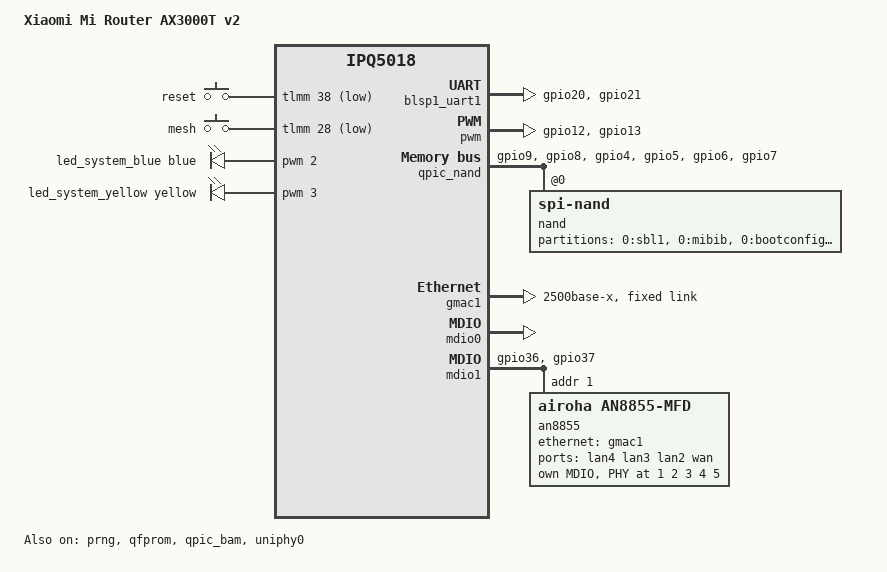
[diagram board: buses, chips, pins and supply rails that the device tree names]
// SPDX-License-Identifier: GPL-2.0-or-later OR MIT

/dts-v1/;

#include "ipq5018.dtsi"
#include "ipq5018-ess.dtsi"
#include "ipq5018-qcn6122.dtsi"

#include <dt-bindings/gpio/gpio.h>
#include <dt-bindings/input/input.h>
#include <dt-bindings/leds/common.h>

/ {
	model = "Xiaomi Mi Router AX3000T v2";
	compatible = "xiaomi,mi-router-ax3000t-v2", "qcom,ipq5018";

	aliases {
		label-mac-device = &lan2;
		led-boot = &led_system_blue;
		led-failsafe = &led_system_yellow;
		led-running = &led_system_blue;
		led-upgrade = &led_system_yellow;
		serial0 = &blsp1_uart1;
	};

	chosen {
		bootargs-append = " ubi.mtd=rootfs root=/dev/ubiblock0_0 coherent_pool=2M";
		stdout-path = "serial0:115200n8";
	};

	keys {
		compatible = "gpio-keys";

		pinctrl-0 = <&button_pins>;
		pinctrl-names = "default";

		reset-button {
			label = "reset";
			gpios = <&tlmm 38 GPIO_ACTIVE_LOW>;
			linux,code = <KEY_RESTART>;
		};

		wps-button {
			label = "mesh";
			gpios = <&tlmm 28 GPIO_ACTIVE_LOW>;
			linux,code = <KEY_WPS_BUTTON>;
		};
	};

	leds {
		compatible = "pwm-leds";

		led_system_blue: led-0 {
			color = <LED_COLOR_ID_BLUE>;
			function = LED_FUNCTION_POWER;
			pwms = <&pwm 2 50000>;
			max-brightness = <255>;
		};

		led_system_yellow: led-1 {
			color = <LED_COLOR_ID_YELLOW>;
			function = LED_FUNCTION_POWER;
			pwms = <&pwm 3 50000>;
			max-brightness = <255>;
		};
	};
};

&sleep_clk {
	clock-frequency = <32000>;
};

&xo_board_clk {
	clock-div = <4>;
	clock-mult = <1>;
};

&blsp1_uart1 {
	status = "okay";

	pinctrl-0 = <&serial_0_pins>;
	pinctrl-names = "default";
};

&prng {
	status = "okay";
};

&pwm {
	status = "okay";

	#pwm-cells = <2>;
	pinctrl-0 = <&pwm_pins>;
	pinctrl-names = "default";
};

&qfprom {
	status = "okay";
};

&qpic_bam {
	status = "okay";
};

&qpic_nand {
	pinctrl-0 = <&qpic_pins>;
	pinctrl-names = "default";
	status = "okay";

	nand@0 {
		compatible = "spi-nand";
		reg = <0>;

		nand-ecc-engine = <&qpic_nand>;
		nand-ecc-step-size = <512>;
		nand-ecc-strength = <4>;
		nand-bus-width = <8>;

		partitions {
			compatible = "fixed-partitions";
			#address-cells = <1>;
			#size-cells = <1>;

			partition@0 {
				label = "0:sbl1";
				reg = <0x00000000 0x80000>;
				read-only;
			};

			partition@80000 {
				label = "0:mibib";
				reg = <0x00080000 0x80000>;
				read-only;
			};

			partition@100000 {
				label = "0:bootconfig";
				reg = <0x00100000 0x40000>;
				read-only;
			};

			partition@140000 {
				label = "0:bootconfig1";
				reg = <0x00140000 0x40000>;
				read-only;
			};

			partition@180000 {
				label = "0:qsee";
				reg = <0x00180000 0x100000>;
				read-only;
			};

			partition@280000 {
				label = "0:qsee_1";
				reg = <0x00280000 0x100000>;
				read-only;
			};

			partition@380000 {
				label = "0:devcfg";
				reg = <0x00380000 0x40000>;
				read-only;
			};

			partition@3c0000 {
				label = "0:devcfg_1";
				reg = <0x003c0000 0x40000>;
				read-only;
			};

			partition@400000 {
				label = "0:cdt";
				reg = <0x00400000 0x40000>;
				read-only;
			};

			partition@440000 {
				label = "0:cdt_1";
				reg = <0x00440000 0x40000>;
				read-only;
			};

			partition@480000 {
				label = "0:appsblenv";
				reg = <0x00480000 0x80000>;
			};

			partition@500000 {
				label = "0:appsbl";
				reg = <0x00500000 0x140000>;
				read-only;
			};

			partition@640000 {
				label = "0:appsbl_1";
				reg = <0x00640000 0x140000>;
				read-only;
			};

			partition@780000 {
				label = "0:art";
				reg = <0x00780000 0x100000>;
				read-only;

				nvmem-layout {
					compatible = "fixed-layout";
					#address-cells = <1>;
					#size-cells = <1>;

					mac_addr_wan: macaddr@0 {
						reg = <0x0 0x6>;
					};

					mac_addr_lan: macaddr@6 {
						reg = <0x6 0x6>;
					};
				};
			};

			partition@880000 {
				label = "0:training";
				reg = <0x00880000 0x80000>;
				read-only;
			};

			partition@900000 {
				label = "bdata";
				reg = <0x00900000 0x80000>;
			};

			partition@980000 {
				label = "crash";
				reg = <0x00980000 0x80000>;
			};

			partition@a00000 {
				label = "crash_syslog";
				reg = <0x00a00000 0x80000>;
			};

			partition@a80000 {
				label = "ubi_kernel";
				reg = <0x00a80000 0x2400000>;
			};

			partition@2e80000 {
				label = "rootfs";
				reg = <0x02e80000 0x5180000>;
			};
		};
	};
};

/*
 * =================================================================
 *     _______________________             _______________________
 *    |        IPQ5018        |           |     Airoha AN8855     |
 *    | +------+   +--------+ |           | +--------+   +------+ |
 *    | | MAC0 |---| GE Phy |-+           | | Phy4   |---| MAC4 | |
 *    | +------+   +--------+ |           | +--------+   +------+ |
 *    | +------+   +--------+ |           | +--------+   +------+ |
 *    | | MAC1 |---| Uniphy |-+-- SGMII---+ | SerDes |---| MAC5 | |
 *    | +------+   +--------+ |           | +--------+   +------+ |
 *    |_______________________|           |_______________________|
 *
 * =================================================================
 */

&uniphy0 {
	status = "okay";

	assigned-clocks = <&uniphy0 UNIPHY_CLK_REF>;
	assigned-clock-rates = <UNIPHY_REFCLK_50MHZ>;
};

// MAC1 ---SGMII---> AN8855 SerDes
&gmac1 {
	status = "okay";

	phy-mode = "2500base-x";

	nvmem-cells = <&mac_addr_wan>;
	nvmem-cell-names = "mac-address";

	fixed-link {
		speed = <2500>;
		full-duplex;
	};
};

&mdio0 {
	status = "okay";
};

&ge_phy {
	qcom,dac-preset-short-cable;
};

&mdio1 {
	status = "okay";

	pinctrl-0 = <&mdio1_pins>;
	pinctrl-names = "default";

	an8855: mfd@1 {
		compatible = "airoha,an8855-mfd";
		reg = <1>;
	};
};

&an8855 {
	efuse {
		compatible = "airoha,an8855-efuse";
		#nvmem-cell-cells = <0>;

		nvmem-layout {
			compatible = "fixed-layout";
			#address-cells = <1>;
			#size-cells = <1>;

			shift_sel_port0_tx_a: shift-sel-port0-tx-a@c {
				reg = <0xc 0x4>;
			};

			shift_sel_port0_tx_b: shift-sel-port0-tx-b@10 {
				reg = <0x10 0x4>;
			};

			shift_sel_port0_tx_c: shift-sel-port0-tx-c@14 {
				reg = <0x14 0x4>;
			};

			shift_sel_port0_tx_d: shift-sel-port0-tx-d@18 {
				reg = <0x18 0x4>;
			};

			shift_sel_port1_tx_a: shift-sel-port1-tx-a@1c {
				reg = <0x1c 0x4>;
			};

			shift_sel_port1_tx_b: shift-sel-port1-tx-b@20 {
				reg = <0x20 0x4>;
			};

			shift_sel_port1_tx_c: shift-sel-port1-tx-c@24 {
				reg = <0x24 0x4>;
			};

			shift_sel_port1_tx_d: shift-sel-port1-tx-d@28 {
				reg = <0x28 0x4>;
			};

			shift_sel_port2_tx_a: shift-sel-port2-tx-a@2c {
				reg = <0x2c 0x4>;
			};

			shift_sel_port2_tx_b: shift-sel-port2-tx-b@30 {
				reg = <0x30 0x4>;
			};

			shift_sel_port2_tx_c: shift-sel-port2-tx-c@34 {
				reg = <0x34 0x4>;
			};

			shift_sel_port2_tx_d: shift-sel-port2-tx-d@38 {
				reg = <0x38 0x4>;
			};

			shift_sel_port3_tx_a: shift-sel-port3-tx-a@4c {
				reg = <0x4c 0x4>;
			};

			shift_sel_port3_tx_b: shift-sel-port3-tx-b@50 {
				reg = <0x50 0x4>;
			};

			shift_sel_port3_tx_c: shift-sel-port3-tx-c@54 {
				reg = <0x54 0x4>;
			};

			shift_sel_port3_tx_d: shift-sel-port3-tx-d@58 {
				reg = <0x58 0x4>;
			};

			shift_sel_port4_tx_a: shift-sel-port4-tx-a@5c {
				reg = <0x5c 0x4>;
			};

			shift_sel_port4_tx_b: shift-sel-port4-tx-b@60 {
				reg = <0x60 0x4>;
			};

			shift_sel_port4_tx_c: shift-sel-port4-tx-c@64 {
				reg = <0x64 0x4>;
			};

			shift_sel_port4_tx_d: shift-sel-port4-tx-d@68 {
				reg = <0x68 0x4>;
			};
		};
	};

	ethernet-switch {
		compatible = "airoha,an8855-switch";
		reset-gpios = <&tlmm 39 GPIO_ACTIVE_HIGH>;
		airoha,ext-surge;

		ports {
			#address-cells = <1>;
			#size-cells = <0>;

			port@0 {
				reg = <0>;
				label = "lan4";
				nvmem-cells = <&mac_addr_lan>;
				nvmem-cell-names = "mac-address";
				phy-mode = "internal";
				phy-handle = <&internal_phy1>;
			};

			port@1 {
				reg = <1>;
				label = "lan3";
				nvmem-cells = <&mac_addr_lan>;
				nvmem-cell-names = "mac-address";
				phy-mode = "internal";
				phy-handle = <&internal_phy2>;
			};

			lan2: port@2 {
				reg = <2>;
				label = "lan2";
				nvmem-cells = <&mac_addr_lan>;
				nvmem-cell-names = "mac-address";
				phy-mode = "internal";
				phy-handle = <&internal_phy3>;
			};

			port@3 {
				reg = <3>;
				label = "wan";
				nvmem-cells = <&mac_addr_wan>;
				nvmem-cell-names = "mac-address";
				phy-mode = "internal";
				phy-handle = <&internal_phy4>;
			};

			port@4 {
				reg = <4>;
				phy-mode = "internal";
				phy-handle = <&internal_phy5>;
				status = "disabled";
			};

			port@5 {
				reg = <5>;
				ethernet = <&gmac1>;
				phy-mode = "2500base-x";

				fixed-link {
					speed = <2500>;
					full-duplex;
					pause;
				};
			};
		};
	};

	mdio {
		compatible = "airoha,an8855-mdio";
		#address-cells = <1>;
		#size-cells = <0>;

		internal_phy1: phy@1 {
			reg = <1>;

			nvmem-cells = <&shift_sel_port0_tx_a>,
				      <&shift_sel_port0_tx_b>,
				      <&shift_sel_port0_tx_c>,
				      <&shift_sel_port0_tx_d>;
			nvmem-cell-names = "tx_a",
					   "tx_b",
					   "tx_c",
					   "tx_d";
		};

		internal_phy2: phy@2 {
			reg = <2>;

			nvmem-cells = <&shift_sel_port1_tx_a>,
				      <&shift_sel_port1_tx_b>,
				      <&shift_sel_port1_tx_c>,
				      <&shift_sel_port1_tx_d>;
			nvmem-cell-names = "tx_a",
					   "tx_b",
					   "tx_c",
					   "tx_d";
		};

		internal_phy3: phy@3 {
			reg = <3>;

			nvmem-cells = <&shift_sel_port2_tx_a>,
				      <&shift_sel_port2_tx_b>,
				      <&shift_sel_port2_tx_c>,
				      <&shift_sel_port2_tx_d>;
			nvmem-cell-names = "tx_a",
					   "tx_b",
					   "tx_c",
					   "tx_d";
		};

		internal_phy4: phy@4 {
			reg = <4>;

			nvmem-cells = <&shift_sel_port3_tx_a>,
				      <&shift_sel_port3_tx_b>,
				      <&shift_sel_port3_tx_c>,
				      <&shift_sel_port3_tx_d>;
			nvmem-cell-names = "tx_a",
					   "tx_b",
					   "tx_c",
					   "tx_d";
		};

		internal_phy5: phy@5 {
			reg = <5>;

			nvmem-cells = <&shift_sel_port4_tx_a>,
				      <&shift_sel_port4_tx_b>,
				      <&shift_sel_port4_tx_c>,
				      <&shift_sel_port4_tx_d>;
			nvmem-cell-names = "tx_a",
					   "tx_b",
					   "tx_c",
					   "tx_d";
		};
	};
};

&tlmm {
	button_pins: button-state {
		pins = "gpio28", "gpio38";
		function = "gpio";
		drive-strength = <8>;
		bias-pull-up;
	};

	mdio1_pins: mdio-state {
		mdc-pins {
			pins = "gpio36";
			function = "mdc";
			drive-strength = <8>;
			bias-pull-up;
		};

		mdio-pins {
			pins = "gpio37";
			function = "mdio";
			drive-strength = <8>;
			bias-pull-up;
		};
	};

	pwm_pins: pwm-state {
		mux-2 {
			pins = "gpio12";
			function = "pwm2";
			drive-strength = <8>;
			bias-pull-down;
		};

		mux-3 {
			pins = "gpio13";
			function = "pwm3";
			drive-strength = <8>;
			bias-pull-down;
		};
	};

	qpic_pins: qpic-state {
		clock-pins {
			pins = "gpio9";
			function = "qspi_clk";
			drive-strength = <8>;
			bias-disable;
		};

		cs-pins {
			pins = "gpio8";
			function = "qspi_cs";
			drive-strength = <8>;
			bias-disable;
		};

		data-pins {
			pins = "gpio4", "gpio5", "gpio6", "gpio7";
			function = "qspi_data";
			drive-strength = <8>;
			bias-disable;
		};
	};

	serial_0_pins: uart0-state {
		pins = "gpio20", "gpio21";
		function = "blsp0_uart0";
		drive-strength = <8>;
		bias-disable;
	};
};

/*
 * Ack SMP2P subsystem restarts of the WCSS, as ipq6018 and ipq8074 do
 * and as the stock device tree does.
 */
&wcss_smp2p_out {
	qcom,smp2p-feature-ssr-ack;
};

/*
 * Both ath11k radios do not fit in 256 MiB: with the full-size rings the
 * board runs out of memory. Keep the Wi-Fi related peripherals disabled,
 * as on the other 256 MiB ipq50xx boards.
 */
&q6v5_wcss {
	status = "disabled";
};

&wifi {
	status = "disabled";

	qcom,rproc = <&q6_wcss_pd1>;
	qcom,userpd-subsys-name = "q6v5_wcss_userpd1";
	qcom,ath11k-calibration-variant = "Xiaomi-Mi-Router-AX3000T-v2";
	qcom,ath11k-fw-memory-mode = <1>;
	qcom,bdf-addr = <0x4c400000>;
};

&wifi1 {
	status = "disabled";

	qcom,rproc = <&q6_wcss_pd2>;
	qcom,userpd-subsys-name = "q6v5_wcss_userpd2";
	qcom,ath11k-calibration-variant = "Xiaomi-Mi-Router-AX3000T-v2";
	qcom,ath11k-fw-memory-mode = <1>;
	qcom,bdf-addr = <0x4d100000>;
	qcom,m3-dump-addr = <0x4df00000>;
};
